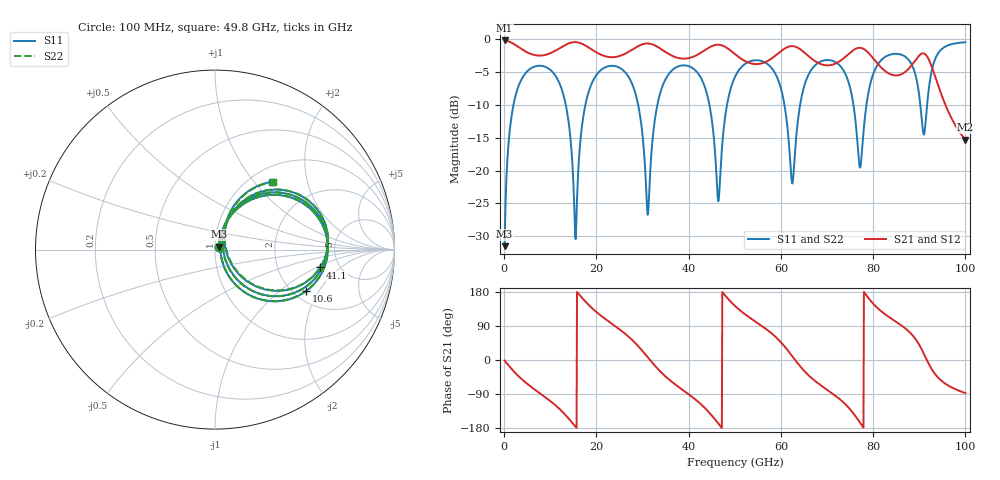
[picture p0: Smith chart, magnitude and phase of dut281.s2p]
! Touchstone file exported from HFSS 2026.1.0
!  File:  C:/ffzhzh/LocalFiles/Ansys_Project_Files/temp_train_TSV_RDL_281_1783678456_33328.aedt
!  Generated:  06:26:45 PM Jul 10, 2026
!  Design:  TSV_RDL
!  Project:  temp_train_TSV_RDL_281_1783678456_33328
! Variables:
!  h_bsmrdl = 4.68um
!  h_ox = 20um
!  h_rdl = 5um
!  h_sub = 87.81um
!  h_tmrdl = 4.93um
!  h_tsv = 87.81um
!  h_via = 3um
!  l_bsmrdl = 421.56um
!  l_sub = 3703.92um
!  l_tmrdl = 490.67um
!  m_sub = 200um
!  pitch = 52.14um
!  r_tsv = 7.98um
!  s_tmrdl = 10um
!  w_bsmrdl = 12.61um
!  w_sub = 500um
!  w_tmrdl = 12.91um
!  x_tsv_center1 = 497.125um
!  x_tsv_center2 = 931.295um
!  x_tsv_center3 = 1434.875um
!  x_tsv_center4 = 1869.045um
!  x_tsv_center5 = 2372.625um
!  x_tsv_center6 = 2806.795um
# GHz S MA R 50.000000
! Terminal data exported
! Port[1] = TM_RDL1_1_T1
! Port[2] = TM_RDL5_1_T1
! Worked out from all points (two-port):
!   1000 points, 100 MHz to 100 GHz, reference 50 ohm
!   highest |S21| = -0.18 dB at 100 MHz (marker M1); lowest = -15.3 dB at 100 GHz (marker M2)
!   |S21| within 3 dB of the highest: start of sweep to 51.88 GHz; 57.42 GHz to 67.1 GHz (9.679 GHz wide, 15.5 % of centre) (the widest 2 of 4)
!   lowest |S11| = -31.5 dB at 100 MHz (marker M3), VSWR 1.05, Z = 52 + j1.79 ohm
!   |S11| at or under -10 dB: 13.37 GHz to 17.6 GHz (4.238 GHz wide, 27.4 % of centre); 29.06 GHz to 33.21 GHz (4.157 GHz wide, 13.4 % of centre); 44.51 GHz to 48.31 GHz (3.802 GHz wide, 8.19 % of centre) (the widest 3 of 7)
!   |S22| runs from -31.5 to -0.4 dB; largest |S21 - S12| = 4.9e-13
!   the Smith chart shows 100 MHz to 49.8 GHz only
!   S11 on the Smith chart (normalised r, x): 100 MHz: 1.04, +0.04; 10.6 GHz: 2.34, -1.56; 41.1 GHz: 3.57, -1.10; 49.8 GHz: 1.24, +1.25
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0.1  0.0266 40.2  0.98 -1.5  0.98 -1.5  0.0266 40.2
! Gamma 0 0 0 0
! Port Impedance 50 0 50 0
2.9  0.4182 46.4  0.8829 -40.2  0.8829 -40.2  0.4182 46.4
10.6  0.5584 -24.3  0.8011 -114.1  0.8011 -114.1  0.5584 -24.3
13.6  0.2859 -55.4  0.9184 -149.2  0.9184 -149.2  0.286 -55.5
15.4  0.03229 -18.6  0.9517 -174.7  0.9517 -174.7  0.03238 -18.6
16.8  0.2082 66.0  0.9267 165.2  0.9267 165.2  0.2081 66.0
26.9  0.5225 -25.9  0.8001 62.4  0.8001 62.4  0.5224 -26.0
31.1  0.04611 -0.8  0.9292 7.8  0.9292 7.8  0.04443 -1.1
33.4  0.3393 57.8  0.8699 -24.6  0.8699 -24.6  0.339 58.2
41.1  0.595 -9.6  0.7395 -100.6  0.7395 -100.6  0.5949 -9.4
46.4  0.05852 4.6  0.9095 -167.1  0.9095 -167.1  0.06185 5.3
49.8  0.4945 49.9  0.7841 145.5  0.7841 145.5  0.495 49.5
50.1  0.522 47.0  0.7689 142.1  0.7689 142.1  0.5225 46.7
58.6  0.563 -22.1  0.7409 63.8  0.7409 63.8  0.563 -22.2
62.5  0.07985 12.7  0.8874 9.3  0.8874 9.3  0.07948 12.6
66.7  0.5927 37.2  0.7108 -48.2  0.7108 -48.2  0.5928 37.0
73.7  0.5696 -18.3  0.7214 -113.5  0.7214 -113.5  0.5694 -18.6
77.3  0.1094 26.7  0.8605 -167.9  0.8605 -167.9  0.106 27.1
83.4  0.7586 21.2  0.5494 113.6  0.5494 113.6  0.7584 21.3
91.2  0.2029 29.8  0.7746 11.2  0.7746 11.2  0.2027 29.8
93.5  0.7157 38.4  0.5131 -38.2  0.5131 -38.2  0.7154 38.4
100  0.95 -0.9  0.1717 -87.5  0.1717 -87.5  0.9499 -0.9
